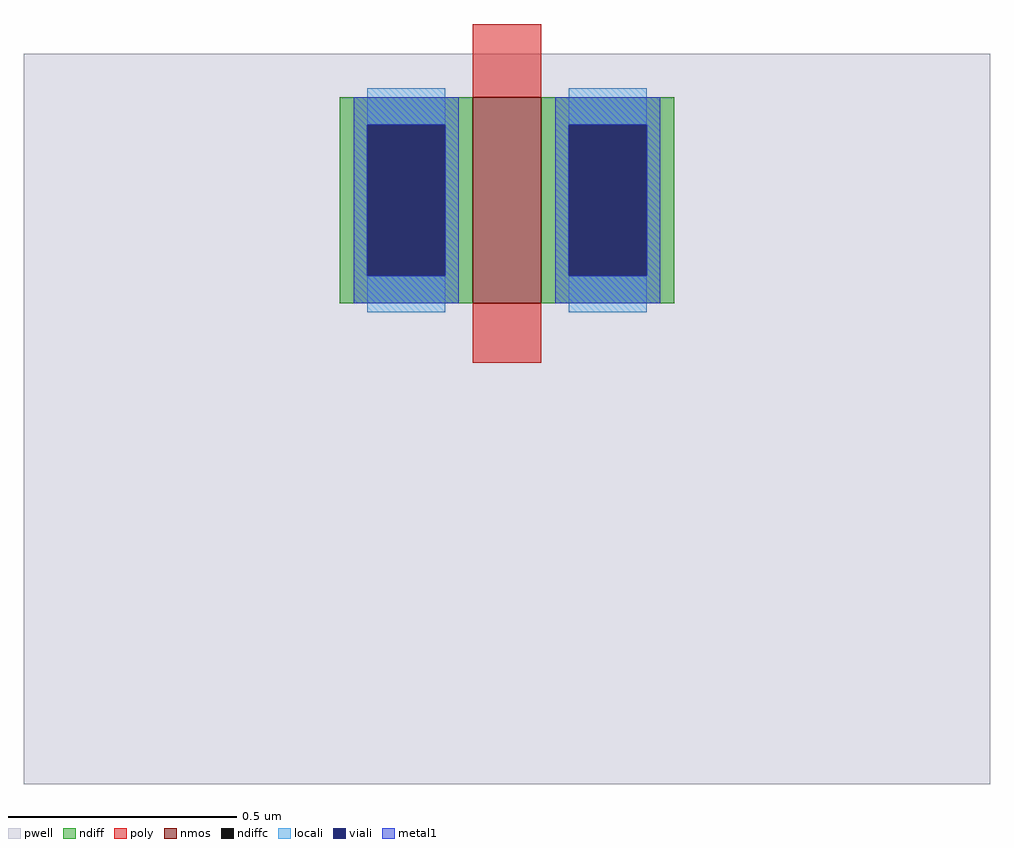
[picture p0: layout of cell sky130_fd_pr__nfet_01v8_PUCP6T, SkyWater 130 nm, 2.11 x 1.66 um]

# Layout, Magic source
magic
tech sky130A
magscale 1 2
<< pwell >>
rect -211 -255 211 64
<< nmos >>
rect -15 -45 15 45
<< ndiff >>
rect -73 33 -15 45
rect -73 -33 -61 33
rect -27 -33 -15 33
rect -73 -45 -15 -33
rect 15 33 73 45
rect 15 -33 27 33
rect 61 -33 73 33
rect 15 -45 73 -33
<< ndiffc >>
rect -61 -33 -27 33
rect 27 -33 61 33
<< poly >>
rect -15 45 15 77
rect -15 -71 15 -45
<< locali >>
rect -61 33 -27 49
rect -61 -49 -27 -33
rect 27 33 61 49
rect 27 -49 61 -33
<< viali >>
rect -61 -33 -27 33
rect 27 -33 61 33
<< metal1 >>
rect -67 33 -21 45
rect -67 -33 -61 33
rect -27 -33 -21 33
rect -67 -45 -21 -33
rect 21 33 67 45
rect 21 -33 27 33
rect 61 -33 67 33
rect 21 -45 67 -33
<< properties >>
string gencell sky130_fd_pr__nfet_01v8
string FIXED_BBOX -158 -202 158 202
string parameters w 0.45 l 0.150 m 1 nf 1 diffcov 100 polycov 100 guard 1 glc 1 grc 1 gtc 1 gbc 1 tbcov 100 rlcov 100 topc 1 botc 1 poverlap 0 doverlap 1 lmin 0.15 wmin 0.42 compatible {sky130_fd_pr__nfet_01v8 sky130_fd_pr__nfet_01v8_lvt  sky130_fd_bs_flash__special_sonosfet_star  sky130_fd_pr__nfet_g5v0d10v5 sky130_fd_pr__nfet_05v0_nvt} full_metal 1 viasrc 100 viadrn 100 viagate 100 viagb 0 viagr 0 viagl 0 viagt 0
string library sky130
<< end >>
